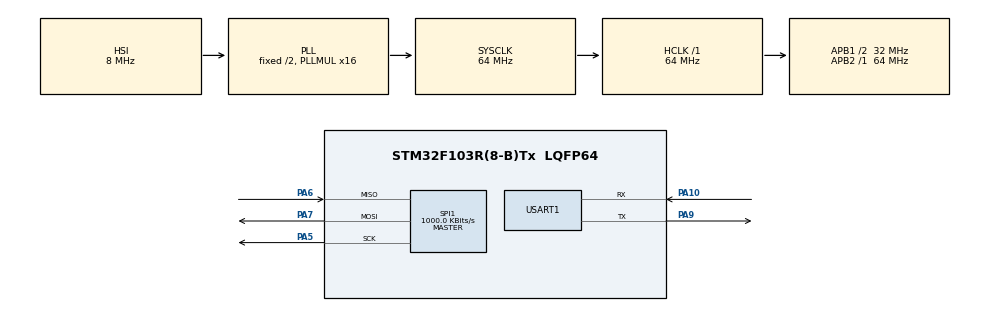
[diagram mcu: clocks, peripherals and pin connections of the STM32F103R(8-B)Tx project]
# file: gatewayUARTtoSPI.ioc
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Dma.Request0=USART1_RX
Dma.Request1=SPI1_TX
Dma.Request2=SPI1_RX
Dma.Request3=USART1_TX
Dma.SPI1_RX.2.Direction=DMA_PERIPH_TO_MEMORY
Dma.SPI1_RX.2.Instance=DMA1_Channel2
Dma.SPI1_RX.2.MemDataAlignment=DMA_MDATAALIGN_BYTE
Dma.SPI1_RX.2.MemInc=DMA_MINC_ENABLE
Dma.SPI1_RX.2.Mode=DMA_NORMAL
Dma.SPI1_RX.2.PeriphDataAlignment=DMA_PDATAALIGN_BYTE
Dma.SPI1_RX.2.PeriphInc=DMA_PINC_DISABLE
Dma.SPI1_RX.2.Priority=DMA_PRIORITY_HIGH
Dma.SPI1_TX.1.Direction=DMA_MEMORY_TO_PERIPH
Dma.SPI1_TX.1.Instance=DMA1_Channel3
Dma.SPI1_TX.1.MemDataAlignment=DMA_MDATAALIGN_BYTE
Dma.SPI1_TX.1.MemInc=DMA_MINC_ENABLE
Dma.SPI1_TX.1.Mode=DMA_NORMAL
Dma.SPI1_TX.1.PeriphDataAlignment=DMA_PDATAALIGN_BYTE
Dma.SPI1_TX.1.PeriphInc=DMA_PINC_DISABLE
Dma.SPI1_TX.1.Priority=DMA_PRIORITY_HIGH
Dma.USART1_RX.0.Direction=DMA_PERIPH_TO_MEMORY
Dma.USART1_RX.0.Instance=DMA1_Channel5
Dma.USART1_RX.0.MemDataAlignment=DMA_MDATAALIGN_BYTE
Dma.USART1_RX.0.MemInc=DMA_MINC_ENABLE
Dma.USART1_RX.0.Mode=DMA_CIRCULAR
Dma.USART1_RX.0.PeriphDataAlignment=DMA_PDATAALIGN_BYTE
Dma.USART1_RX.0.PeriphInc=DMA_PINC_DISABLE
Dma.USART1_RX.0.Priority=DMA_PRIORITY_HIGH
Dma.USART1_TX.3.Direction=DMA_MEMORY_TO_PERIPH
Dma.USART1_TX.3.Instance=DMA1_Channel4
Dma.USART1_TX.3.MemDataAlignment=DMA_MDATAALIGN_BYTE
Dma.USART1_TX.3.MemInc=DMA_MINC_ENABLE
Dma.USART1_TX.3.Mode=DMA_NORMAL
Dma.USART1_TX.3.PeriphDataAlignment=DMA_PDATAALIGN_BYTE
Dma.USART1_TX.3.PeriphInc=DMA_PINC_DISABLE
Dma.USART1_TX.3.Priority=DMA_PRIORITY_HIGH
FREERTOS.Tasks01=TaskSPI,24,256,vTaskSPI,Default,NULL,Dynamic,NULL,NULL;TaskUSART,24,256,vTaskUSART,Default,NULL,Dynamic,NULL,NULL
Mcu.Family=STM32F1
Mcu.Name=STM32F103R(8-B)Tx
Mcu.Package=LQFP64
NVIC.DMA1_Channel2_IRQn=true\:5\:0\:false\:false\:true\:true\:false\:true\:true
NVIC.DMA1_Channel3_IRQn=true\:5\:0\:false\:false\:true\:true\:false\:true\:true
NVIC.DMA1_Channel4_IRQn=true\:5\:0\:false\:false\:true\:true\:false\:true\:true
NVIC.DMA1_Channel5_IRQn=true\:5\:0\:false\:false\:true\:true\:false\:true\:true
NVIC.PriorityGroup=NVIC_PRIORITYGROUP_4
NVIC.SPI1_IRQn=true\:5\:0\:false\:false\:true\:true\:true\:true\:true
PA10.Mode=Asynchronous
PA10.Signal=USART1_RX
PA5.Mode=Full_Duplex_Master
PA5.Signal=SPI1_SCK
PA6.Mode=Full_Duplex_Master
PA6.Signal=SPI1_MISO
PA7.Mode=Full_Duplex_Master
PA7.Signal=SPI1_MOSI
PA9.Mode=Asynchronous
PA9.Signal=USART1_TX
ProjectManager.HeapSize=0x200
ProjectManager.StackSize=0x400
ProjectManager.TargetToolchain=STM32CubeIDE
RCC.AHBFreq_Value=64000000
RCC.APB1CLKDivider=RCC_HCLK_DIV2
RCC.APB1Freq_Value=32000000
RCC.APB1TimFreq_Value=64000000
RCC.APB2Freq_Value=64000000
RCC.APB2TimFreq_Value=64000000
RCC.HCLKFreq_Value=64000000
RCC.PLLMUL=RCC_PLL_MUL16
RCC.SYSCLKFreq_VALUE=64000000
RCC.SYSCLKSource=RCC_SYSCLKSOURCE_PLLCLK
RCC.USBFreq_Value=64000000
SPI1.BaudRatePrescaler=SPI_BAUDRATEPRESCALER_64
SPI1.CalculateBaudRate=1000.0 KBits/s
SPI1.Direction=SPI_DIRECTION_2LINES
SPI1.Mode=SPI_MODE_MASTER
SPI1.VirtualType=VM_MASTER
USART1.VirtualMode=VM_ASYNC
VP_FREERTOS_VS_CMSIS_V2.Mode=CMSIS_V2
VP_SYS_VS_ND.Mode=No_Debug
board=custom

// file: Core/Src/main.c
/* USER CODE BEGIN Header */
/**
  ******************************************************************************
  * @file           : main.c
  * @brief          : Main program body
  ******************************************************************************
  * @attention
  *
  * Copyright (c) 2024 STMicroelectronics.
  * All rights reserved.
  *
  * This software is licensed under terms that can be found in the LICENSE file
  * in the root directory of this software component.
  * If no LICENSE file comes with this software, it is provided AS-IS.
  *
  ******************************************************************************
  */
/* USER CODE END Header */
#include "main.h"
#include "cmsis_os.h"
#include "dma.h"
#include "spi.h"
#include "usart.h"
#include "gpio.h"

void SystemClock_Config(void);
void MX_FREERTOS_Init(void);

/* USER CODE BEGIN 0 */
uint32_t calculate_uart_delay(uint32_t baud_rate, uint32_t num_bytes)
{
    float bits_per_byte = 10.0;
    float time_in_seconds = (bits_per_byte * num_bytes) / baud_rate;
    float time_in_milliseconds = time_in_seconds * 1000.0;
    return time_in_milliseconds;
}
/* USER CODE END 0 */

int main(void)
{

  /* MCU Configuration--------------------------------------------------------*/

  /* Reset of all peripherals, Initializes the Flash interface and the Systick. */
  HAL_Init();

  /* Configure the system clock */
  SystemClock_Config();

  /* Initialize all configured peripherals */
  MX_GPIO_Init();
  MX_DMA_Init();
  MX_SPI1_Init();
  MX_USART1_UART_Init();

  /* Init scheduler */
  osKernelInitialize();

  /* Call init function for freertos objects (in cmsis_os2.c) */
  MX_FREERTOS_Init();

  /* Start scheduler */
  osKernelStart();

  /* We should never get here as control is now taken by the scheduler */

  /* Infinite loop */
  while (1)
  {

  }
}

void SystemClock_Config(void)
{
  RCC_OscInitTypeDef RCC_OscInitStruct = {0};
  RCC_ClkInitTypeDef RCC_ClkInitStruct = {0};

  /** Initializes the RCC Oscillators according to the specified parameters
  * in the RCC_OscInitTypeDef structure.
  */
  RCC_OscInitStruct.OscillatorType = RCC_OSCILLATORTYPE_HSI;
  RCC_OscInitStruct.HSIState = RCC_HSI_ON;
  RCC_OscInitStruct.HSICalibrationValue = RCC_HSICALIBRATION_DEFAULT;
  RCC_OscInitStruct.PLL.PLLState = RCC_PLL_ON;
  RCC_OscInitStruct.PLL.PLLSource = RCC_PLLSOURCE_HSI_DIV2;
  RCC_OscInitStruct.PLL.PLLMUL = RCC_PLL_MUL16;
  if (HAL_RCC_OscConfig(&RCC_OscInitStruct) != HAL_OK)
  {
    Error_Handler();
  }

  /** Initializes the CPU, AHB and APB buses clocks
  */
  RCC_ClkInitStruct.ClockType = RCC_CLOCKTYPE_HCLK|RCC_CLOCKTYPE_SYSCLK
                              |RCC_CLOCKTYPE_PCLK1|RCC_CLOCKTYPE_PCLK2;
  RCC_ClkInitStruct.SYSCLKSource = RCC_SYSCLKSOURCE_PLLCLK;
  RCC_ClkInitStruct.AHBCLKDivider = RCC_SYSCLK_DIV1;
  RCC_ClkInitStruct.APB1CLKDivider = RCC_HCLK_DIV2;
  RCC_ClkInitStruct.APB2CLKDivider = RCC_HCLK_DIV1;

  if (HAL_RCC_ClockConfig(&RCC_ClkInitStruct, FLASH_LATENCY_2) != HAL_OK)
  {
    Error_Handler();
  }
}

void Error_Handler(void)
{
  __disable_irq();
  while (1)
  {
  }
}

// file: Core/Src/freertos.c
/* USER CODE BEGIN Header */
/**
  ******************************************************************************
  * File Name          : freertos.c
  * Description        : Code for freertos applications
  ******************************************************************************
  * @attention
  *
  * Copyright (c) 2024 STMicroelectronics.
  * All rights reserved.
  *
  * This software is licensed under terms that can be found in the LICENSE file
  * in the root directory of this software component.
  * If no LICENSE file comes with this software, it is provided AS-IS.
  *
  ******************************************************************************
  */
/* USER CODE END Header */

#include "FreeRTOS.h"
#include "task.h"
#include "main.h"
#include "cmsis_os.h"

/* USER CODE BEGIN Includes */
#include "spi.h"
#include "usart.h"
#include "queue.h"
#include "semphr.h"
#include "stm32f1xx_hal.h"
#include <string.h>
/* USER CODE END Includes */

/* USER CODE BEGIN PD */
#define BUFFER_SIZE 255
/* USER CODE END PD */

/* USER CODE BEGIN Variables */
QueueHandle_t xQueueUSARTtoSPI;
QueueHandle_t xQueueSPItoUSART;
SemaphoreHandle_t xMutex;

uint8_t filler_data[BUFFER_SIZE];
uint8_t received_data[BUFFER_SIZE];
uint8_t uartBufferRX[BUFFER_SIZE];
uint8_t uartBufferTX[BUFFER_SIZE];
uint8_t tmpBuff[BUFFER_SIZE];

bool fUartToSpiSending = false;
UBaseType_t sizeOfQueue = 10;

/* USER CODE END Variables */
/* Definitions for TaskSPI */
osThreadId_t TaskSPIHandle;
const osThreadAttr_t TaskSPI_attributes = {
  .name = "TaskSPI",
  .stack_size = 256 * 4,
  .priority = (osPriority_t) osPriorityNormal,
};
/* Definitions for TaskUSART */
osThreadId_t TaskUSARTHandle;
const osThreadAttr_t TaskUSART_attributes = {
  .name = "TaskUSART",
  .stack_size = 256 * 4,
  .priority = (osPriority_t) osPriorityNormal,
};

/* USER CODE BEGIN FunctionPrototypes */
void vTaskUSART(void *pvParameters);
void vTaskSPI(void *pvParameters);
/* USER CODE END FunctionPrototypes */

void vTaskSPI(void *argument);
void vTaskUSART(void *argument);

void MX_FREERTOS_Init(void); /* (MISRA C 2004 rule 8.1) */

void MX_FREERTOS_Init(void) {

  /* USER CODE BEGIN RTOS_SEMAPHORES */
	xMutex = xSemaphoreCreateMutex();
  /* USER CODE END RTOS_SEMAPHORES */

  /* USER CODE BEGIN RTOS_QUEUES */
    xQueueUSARTtoSPI = xQueueCreate(sizeOfQueue, BUFFER_SIZE);
    xQueueSPItoUSART = xQueueCreate(sizeOfQueue, BUFFER_SIZE);
  /* USER CODE END RTOS_QUEUES */

  /* Create the thread(s) */
  /* creation of TaskSPI */
  TaskSPIHandle = osThreadNew(vTaskSPI, NULL, &TaskSPI_attributes);

  /* creation of TaskUSART */
  TaskUSARTHandle = osThreadNew(vTaskUSART, NULL, &TaskUSART_attributes);

}

void vTaskSPI(void *argument)
{
  /* USER CODE BEGIN vTaskSPI */

	memset(&filler_data[0], 0, BUFFER_SIZE);
	memset(&received_data[0], 0, BUFFER_SIZE);

	fSpi1EndTransmission = false;

	HAL_SPI_Transmit_DMA(&hspi1, filler_data, BUFFER_SIZE); // не цекличное
	HAL_SPI_Receive_DMA(&hspi1, received_data, BUFFER_SIZE);

  /* Infinite loop */
    for(;;)
    {
    	do
    	{
    	    if(fSpi1EndTransmission)
    	    {
    	    	uint16_t packedSize = 0;
    		    // ======================== Outgoing Packet Handler =============================
    		    if(fUartToSpiSending || uxQueueMessagesWaiting(xQueueUSARTtoSPI) > 0)
    		    {
    	    		if (xSemaphoreTake(xMutex, portMAX_DELAY) == pdTRUE)
    	    		{
        		        if (xQueueReceive(xQueueUSARTtoSPI, (void*)tmpBuff, 0) == pdTRUE)
        		        {
        		    	     memset(&filler_data[0], 0, BUFFER_SIZE);
        		    	     packedSize = strlen((const char *)tmpBuff);
        		    	     memcpy(&filler_data[0], &tmpBuff[0], packedSize);

        		        }
        		        else
        		        {
        		        	xSemaphoreGive(xMutex);
        			        break;
        		        }
        		        xSemaphoreGive(xMutex);
    	    		}
    		    }
    		    else
    		    {
    		    	//If the queue for sending is full, then we will wait
    		    	UBaseType_t count = uxQueueMessagesWaiting(xQueueSPItoUSART);
    		    	if(count < sizeOfQueue)
    		    	{
    		    		memset(&filler_data[0], 0, BUFFER_SIZE);
    		    		packedSize = BUFFER_SIZE;
    		    	}
    		    	else
    		    		break;
    		    }

    		    // ======================== Incoming Packet Handler =============================
    		    if (xQueueSend(xQueueUSARTtoSPI, (void*)received_data, portMAX_DELAY) != pdPASS)
    		    {
    		        // Error sending data to queue
    		    }
    		    memset(&received_data[0], 0, BUFFER_SIZE);

    		    fSpi1EndTransmission = false;
    		    HAL_SPI_Transmit_DMA(&hspi1, filler_data, packedSize);
    		    HAL_SPI_Receive_DMA(&hspi1, received_data, BUFFER_SIZE);
    	    }
    	}
    	while(0);

      osDelay(10);
    }
  /* USER CODE END vTaskSPI */
}

void vTaskUSART(void *argument)
{
  /* USER CODE BEGIN vTaskUSART */
	uint16_t currentPos = 0;
	memset(&uartBufferRX[0], 0, BUFFER_SIZE);
	memset(&uartBufferTX[0], 0, BUFFER_SIZE);
	HAL_UART_Receive_DMA(&huart1, &uartBufferRX[0], BUFFER_SIZE); // circle

	uint32_t delay_ms = calculate_uart_delay(huart1.Init.BaudRate, (uint32_t)BUFFER_SIZE);
	uint32_t delay_counter = delay_ms;
	fUartToSpiSending = false;
  /* Infinite loop */
    for(;;)
    {
    	// ======================== Incoming Packet Handler =============================
    	if(--delay_counter == 0)
    	{
    		delay_counter = delay_ms;

    	    uint16_t newPos = BUFFER_SIZE - __HAL_DMA_GET_COUNTER(huart1.hdmarx);
    	    if(currentPos != newPos)
    	    {

    	    	uint16_t len = currentPos > newPos ? BUFFER_SIZE - currentPos + newPos : newPos - currentPos;
     	    	uint16_t tmpPos = currentPos;
    		    uint32_t i = 0;
    		    if (xSemaphoreTake(xMutex, portMAX_DELAY) == pdTRUE)
    		    {
    		    	fUartToSpiSending = true;
    		        memset(&tmpBuff[0], 0, BUFFER_SIZE);
    		        do
                    {
    			        tmpPos += 1;
    			        tmpPos %= BUFFER_SIZE;
    			        tmpBuff[i++] = uartBufferRX[tmpPos];

            	        if(uartBufferRX[tmpPos] == 0x00)
            	        {
            	    	    fUartToSpiSending = false;
            	    	    if(len == 1) break;
            	        }

                    }
    		        while(--len > 0);

    		        if(len > 0)
    			        currentPos = tmpPos;
    		        else
    			        currentPos = newPos;

                    if (tmpBuff[0]!= 0 && xQueueSend(xQueueUSARTtoSPI, (void*)tmpBuff, portMAX_DELAY) == pdPASS)
                    {
                        //
                    }
                    xSemaphoreGive(xMutex);
    		    }
    	    }
    	}

    	// ======================== Outgoing Packet Handler =============================
    	if (huart1.gState != HAL_UART_STATE_READY)
    	{
    		if (xSemaphoreTake(xMutex, portMAX_DELAY) == pdTRUE)
    		{
  		        if (xQueueReceive(xQueueSPItoUSART, (void*)tmpBuff, 0) == pdTRUE)
   		        {
  		    	    uint16_t packedSize = strlen((const char *)tmpBuff) + 1;
  		    	    memcpy(&uartBufferTX[0], &tmpBuff[0], packedSize);

  		    	    if (HAL_UART_Transmit_DMA(&huart1, &uartBufferTX[0], packedSize) != HAL_OK)
   			        {
   			           // Error in transmission
   			           //Error_Handler();
   			        }
   		        }
  		        xSemaphoreGive(xMutex);
   		    }
    	}

        osDelay(1);
    }
  /* USER CODE END vTaskUSART */
}
